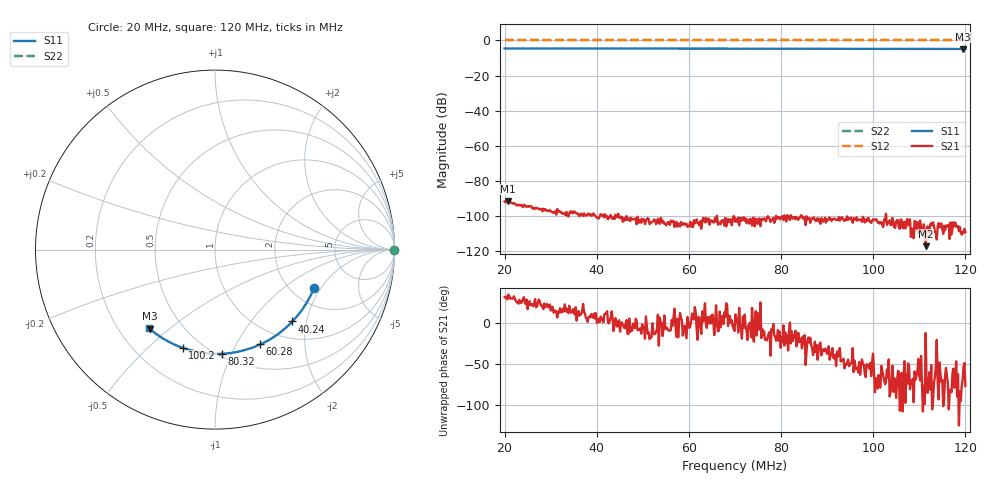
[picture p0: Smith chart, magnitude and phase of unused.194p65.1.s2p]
! Anritsu VNA Master:  Model: MS2036C/10/77
! SN:  1601066
! /bd0/18may08.cable.cal/unused.194p65.1.s2p
! Existing Calibration Information:
! TYPE:  Current Settings,  Active Cal Settings
! TIME:  05/08/2018 04:31:09 PM,  05/08/2018 04:21:58 PM
! INTERNAL TEMP:  50.0 C,  50.0 C
! # POINTS:  500,  500
! START FREQ:  20.000 MHz,  20.000 MHz
! STOP FREQ:  120.000 MHz,  120.000 MHz
! SOURCE POWER:  High,  High
! IFBW:  50 Hz,  50 Hz
! AVG FACTOR:  1 ,  1
! REF PLANE 1:  0 mm,  0 mm
! REF PLANE 2:  0 mm,  0 mm
! CAL TYPE:  Full S11,  Full S11
! CAL METHOD:  SOLT,  SOLT
! CAL LINE TYPE:  Coax,  Coax
! DUT PORT 1:  K-Conn(F),  K-Conn(F)
! DUT PORT 2:  K-Conn(F),  K-Conn(F)
! CAL STATUS:  OK: Accuracy High,  --
# GHZ S DB R 50.0
! FREQ.GHZ  S11DB  S11A  S21DB  S21A  S12DB  S12A  S22DB  S22A
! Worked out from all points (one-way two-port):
!   500 points, 20 MHz to 120 MHz, reference 50 ohm
!   highest |S21| = -91.48 dB at 20.8 MHz (marker M1); lowest = -117.2 dB at 111.4 MHz (marker M2)
!   lowest |S11| = -4.9 dB at 119.4 MHz (marker M3), VSWR 3.67, Z = 16.4 - j21.5 ohm
!   |S11| at or under -10 dB: nowhere
!   |S22| runs from 0.0 to 0.0 dB; largest |S21 - S12| = 1
!   S11 on the Smith chart (normalised r, x): 20 MHz: 2.64, -1.73; 40.24 MHz: 1.35, -1.66; 60.28 MHz: 0.78, -1.26; 80.32 MHz: 0.52, -0.92; 100.2 MHz: 0.39, -0.65; 120 MHz: 0.33, -0.42
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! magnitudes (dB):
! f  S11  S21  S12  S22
! 20 MHz  -4.6  -91.8  0.0  0.0
! 20.8 MHz  -4.6  -91.5  0.0  0.0
! 30.62 MHz  -4.6  -98.3  0.0  0.0
! 31.62 MHz  -4.6  -97.5  0.0  0.0
! 36.83 MHz  -4.6  -99.5  0.0  0.0
! 40.24 MHz  -4.6  -101.0  0.0  0.0
! 53.47 MHz  -4.6  -104.1  0.0  0.0
! 56.87 MHz  -4.6  -106.4  0.0  0.0
! 60.28 MHz  -4.7  -103.4  0.0  0.0
! 61.88 MHz  -4.7  -104.0  0.0  0.0
! 62.89 MHz  -4.7  -103.3  0.0  0.0
! 66.29 MHz  -4.7  -105.0  0.0  0.0
! 70.1 MHz  -4.7  -103.3  0.0  0.0
! 80.32 MHz  -4.7  -100.1  0.0  0.0
! 86.73 MHz  -4.7  -101.2  0.0  0.0
! 93.35 MHz  -4.8  -101.3  0.0  0.0
! 99.16 MHz  -4.8  -103.0  0.0  0.0
! 100.2 MHz  -4.8  -102.4  0.0  0.0
! 103.4 MHz  -4.8  -104.1  0.0  0.0
! 111.4 MHz  -4.8  -117.2  0.0  0.0
! 119.4 MHz  -4.9  -109.1  0.0  0.0
! 120 MHz  -4.9  -109.2  0.0  0.0
